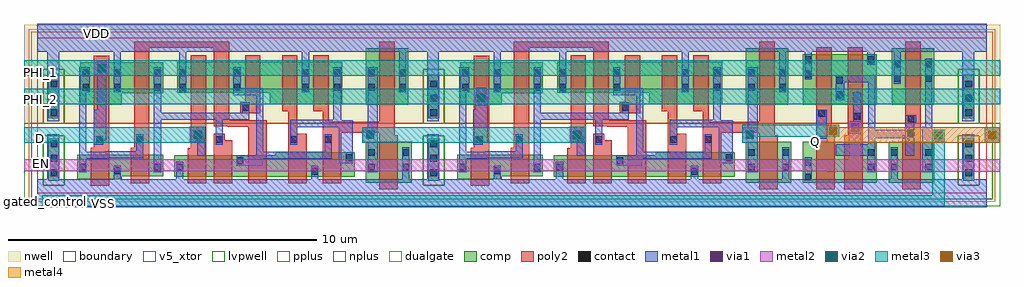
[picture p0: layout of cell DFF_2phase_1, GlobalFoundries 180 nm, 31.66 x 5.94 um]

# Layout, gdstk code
import gdstk
lib = gdstk.Library(unit=1e-6, precision=1e-09)
def R(c, l, rs):  # rectangles x0, y0, x1, y1
    for r in rs: c.add(gdstk.rectangle(r[:2], r[2:], *l))
def A(c, l, x, y, w, h, nx, ny, dx, dy):  # array of equal rectangles
    R(c, l, [(x+i*dx, y+j*dy, x+i*dx+w, y+j*dy+h) for i in range(nx) for j in range(ny)])
def P(c, l, *ps):  # polygons
    for p in ps: c.add(gdstk.Polygon(p, *l))
boundary = (0, 0)
nwell = (21, 0)
comp = (22, 0)
poly2 = (30, 0)
pplus = (31, 0)
nplus = (32, 0)
contact = (33, 0)
metal1 = (34, 0)
via1 = (35, 0)
metal2 = (36, 0)
via2 = (38, 0)
via3 = (40, 0)
metal3 = (42, 0)
metal4 = (46, 0)
dualgate = (55, 0)
v5_xtor = (112, 1)
lvpwell = (204, 0)

gf180mcu_fd_sc_mcu9t5v0_ = lib.new_cell('gf180mcu_fd_sc_mcu9t5v0__filltie')
R(gf180mcu_fd_sc_mcu9t5v0_, boundary, [(0,0,1.12,5.04)])
R(gf180mcu_fd_sc_mcu9t5v0_, nwell, [(-0.43,2.265,1.55,5.47)])
R(gf180mcu_fd_sc_mcu9t5v0_, comp, [(0.36,0.41,0.72,1.785), (0.36,2.425,0.72,3.855)])
R(gf180mcu_fd_sc_mcu9t5v0_, pplus, [(0.2,0.25,0.88,1.865)])
P(gf180mcu_fd_sc_mcu9t5v0_, pplus, [(-0.2,2.265),(-0.2,5.24),(1.32,5.24),(1.32,2.265),(0.88,2.265),(0.88,4.015),(0.2,4.015),(0.2,2.265)])
P(gf180mcu_fd_sc_mcu9t5v0_, nplus, [(-0.2,-0.2),(-0.2,2.265),(0.2,2.265),(0.2,4.015),(0.88,4.015),(0.88,1.865),(0.2,1.865),(0.2,0.25),(0.88,0.25),(0.88,4.015),(0.88,2.265),(1.32,2.265),(1.32,-0.2)])
A(gf180mcu_fd_sc_mcu9t5v0_, contact, 0.43, 0.555, 0.22, 0.22, 1, 3, 0, 0.47)
A(gf180mcu_fd_sc_mcu9t5v0_, contact, 0.43, 2.495, 0.22, 0.22, 1, 3, 0, 0.47)
P(gf180mcu_fd_sc_mcu9t5v0_, metal1, [(0,-0.45),(0,0.45),(0.33,0.45),(0.33,1.91),(0.71,1.91),(0.71,0.45),(1.12,0.45),(1.12,-0.45)],
  [(0.33,2.34),(0.33,4.59),(0,4.59),(0,5.49),(1.12,5.49),(1.12,4.59),(0.71,4.59),(0.71,2.34)])
R(gf180mcu_fd_sc_mcu9t5v0_, dualgate, [(-0.28,-0.28,1.4,5.32)])
R(gf180mcu_fd_sc_mcu9t5v0_, v5_xtor, [(0,0,1.12,5.04)])
R(gf180mcu_fd_sc_mcu9t5v0_, lvpwell, [(-0.43,-0.43,1.55,2.265)])
gf180mcu_fd_sc_mcu9t5v0_.add(gdstk.Label('VSS', (0.56,-0.45), layer=34, texttype=10))
gf180mcu_fd_sc_mcu9t5v0_.add(gdstk.Label('VDD', (0.56,5.49), layer=34, texttype=10))
gf180mcu_fd_sc_mcu9t5v0_.add(gdstk.Label('& Vendor GLOBALFOUNDRIES', (0,2), layer=63, texttype=63))
gf180mcu_fd_sc_mcu9t5v0_.add(gdstk.Label('& Product GF018hv5v_green_sc9', (0,1.5), layer=63, texttype=63))
gf180mcu_fd_sc_mcu9t5v0_.add(gdstk.Label('& Version 2015q2v2', (0,1), layer=63, texttype=63))
gf180mcu_fd_sc_mcu9t5v0_.add(gdstk.Label('& Metric 1.00', (0,0.5), layer=63, texttype=63))

c_gf180mcu_fd_sc_mcu9t5v0_ = lib.new_cell('gf180mcu_fd_sc_mcu9t5v0__latq_1')
R(c_gf180mcu_fd_sc_mcu9t5v0_, boundary, [(0,0,11.2,5.04)])
R(c_gf180mcu_fd_sc_mcu9t5v0_, nwell, [(-0.43,2.265,11.63,5.47)])
R(c_gf180mcu_fd_sc_mcu9t5v0_, comp, [(9.54,0.345,11.02,1.665), (9.54,2.865,10.92,4.695)])
P(c_gf180mcu_fd_sc_mcu9t5v0_, comp, [(0.18,0.46),(0.18,1.25),(2.96,1.25),(2.96,0.55),(1.62,0.55),(1.62,0.46)],
  [(0.28,2.865),(0.28,4.245),(2.96,4.245),(2.96,3.245),(1.62,3.245),(1.62,2.865)],
  [(6.42,2.88),(6.42,3.26),(3.42,3.26),(3.42,4.26),(8.78,4.26),(8.78,2.88)],
  [(3.32,0.535),(3.32,1.235),(6.62,1.235),(6.62,1.325),(9.18,1.325),(9.18,0.535)])
P(c_gf180mcu_fd_sc_mcu9t5v0_, poly2, [(0.62,0.24),(0.62,1.47),(0.72,1.47),(0.72,4.465),(1.22,4.465),(1.22,0.24)],
  [(3.76,0.315),(3.76,1.455),(3.86,1.455),(3.86,4.48),(4.36,4.48),(4.36,0.315)],
  [(4.6,0.315),(4.6,1.925),(4.96,1.925),(4.96,1.715),(5.2,1.715),(5.2,0.315)],
  [(5.46,2.6),(5.46,2.96),(5.62,2.96),(5.62,4.48),(6.12,4.48),(6.12,3.04),(6.115,3.04),(6.115,2.6)],
  [(5.72,0.315),(5.72,2.16),(5.055,2.16),(5.055,2.165),(4.6,2.165),(4.6,4.72),(2.52,4.72),(2.52,0.33),(1.92,0.33),(1.92,1.47),(2.02,1.47),(2.02,4.92),(5.1,4.92),(5.1,2.36),(6.32,2.36),(6.32,0.315)],
  [(7.02,0.315),(7.02,2.66),(6.82,2.66),(6.82,4.48),(7.32,4.48),(7.32,1.925),(7.62,1.925),(7.62,0.315)],
  [(9.98,0.125),(9.98,1.965),(8.74,1.965),(8.74,0.315),(8.14,0.315),(8.14,2.66),(7.84,2.66),(7.84,4.48),(8.34,4.48),(8.34,2.325),(9.98,2.325),(9.98,4.915),(10.48,4.915),(10.48,1.885),(10.58,1.885),(10.58,0.125)])
R(c_gf180mcu_fd_sc_mcu9t5v0_, pplus, [(-0.2,2.265,11.4,5.24)])
R(c_gf180mcu_fd_sc_mcu9t5v0_, nplus, [(-0.2,-0.2,11.4,2.265)])
R(c_gf180mcu_fd_sc_mcu9t5v0_, contact, [(7.77,0.605,7.99,0.825), (1.37,0.615,1.59,0.835), (0.25,0.74,0.47,0.96), (2.67,0.74,2.89,0.96), (3.39,0.74,3.61,0.96), (9.61,0.74,9.83,0.96), (10.73,0.74,10.95,0.96), (5.35,0.945,5.57,1.165), (8.89,1.035,9.11,1.255), (9.61,1.21,9.83,1.43), (10.73,1.21,10.95,1.43), (0.79,1.635,1.01,1.855), (2.09,1.635,2.31,1.855), (4.07,1.635,4.29,1.855), (4.67,1.635,4.89,1.855), (7.09,1.635,7.31,1.855), (8.21,1.635,8.43,1.855), (5.53,2.67,5.75,2.89), (0.35,3.33,0.57,3.55), (1.37,3.33,1.59,3.55), (2.67,3.33,2.89,3.55), (3.49,3.33,3.71,3.55), (5.25,3.33,5.47,3.55), (7.47,3.33,7.69,3.55), (8.49,3.33,8.71,3.55), (9.61,3.33,9.83,3.55), (10.63,3.33,10.85,3.55), (0.35,3.8,0.57,4.02), (1.37,3.8,1.59,4.02), (2.67,3.8,2.89,4.02), (3.49,3.8,3.71,4.02), (5.25,3.8,5.47,4.02), (7.47,3.8,7.69,4.02), (8.49,3.8,8.71,4.02), (9.61,3.8,9.83,4.02), (10.63,3.8,10.85,4.02)])
R(c_gf180mcu_fd_sc_mcu9t5v0_, metal1, [(9.605,0.68,9.93,4.08), (4.065,1.21,4.33,2.15), (0.71,1.575,1.015,2.71)])
P(c_gf180mcu_fd_sc_mcu9t5v0_, metal1, [(0.245,0.68),(0.245,4.08),(0.575,4.08),(0.575,3.27),(0.475,3.27),(0.475,1.345),(1.085,1.345),(1.085,1.355),(2.085,1.355),(2.085,1.915),(2.315,1.915),(2.315,1.125),(1.155,1.125),(1.155,1.115),(0.475,1.115),(0.475,0.68)],
  [(2.665,0.68),(2.665,4.08),(2.895,4.08),(2.895,2.61),(5.525,2.61),(5.525,2.95),(5.755,2.95),(5.755,2.38),(4.895,2.38),(4.895,1.575),(4.665,1.575),(4.665,2.38),(2.895,2.38),(2.895,0.68)],
  [(5.345,0.885),(5.345,1.225),(5.985,1.225),(5.985,3.18),(5.245,3.18),(5.245,4.08),(5.475,4.08),(5.475,3.41),(6.215,3.41),(6.215,1.345),(8.205,1.345),(8.205,1.915),(8.435,1.915),(8.435,1.115),(6.19,1.115),(6.19,0.885)],
  [(8.665,0.975),(8.665,2.145),(7.315,2.145),(7.315,1.575),(7.085,1.575),(7.085,2.375),(8.485,2.375),(8.485,4.08),(8.735,4.08),(8.735,2.365),(9.115,2.365),(9.115,0.975)],
  [(0,-0.45),(0,0.45),(1.365,0.45),(1.365,0.895),(1.595,0.895),(1.595,0.45),(3.385,0.45),(3.385,1.02),(3.615,1.02),(3.615,0.45),(7.765,0.45),(7.765,0.885),(7.995,0.885),(7.995,0.45),(10.725,0.45),(10.725,1.49),(10.955,1.49),(10.955,0.45),(11.2,0.45),(11.2,-0.45)],
  [(1.365,3.27),(1.365,4.59),(0,4.59),(0,5.49),(11.2,5.49),(11.2,4.59),(10.855,4.59),(10.855,3.27),(10.625,3.27),(10.625,4.59),(7.695,4.59),(7.695,3.27),(7.465,3.27),(7.465,4.59),(3.715,4.59),(3.715,3.27),(3.485,3.27),(3.485,4.59),(1.595,4.59),(1.595,3.27)])
R(c_gf180mcu_fd_sc_mcu9t5v0_, dualgate, [(-0.28,-0.28,11.48,5.32)])
R(c_gf180mcu_fd_sc_mcu9t5v0_, v5_xtor, [(0,0,11.2,5.04)])
R(c_gf180mcu_fd_sc_mcu9t5v0_, lvpwell, [(-0.43,-0.43,11.63,2.265)])
c_gf180mcu_fd_sc_mcu9t5v0_.add(gdstk.Label('D', (4.2,1.4), layer=34, texttype=10))
c_gf180mcu_fd_sc_mcu9t5v0_.add(gdstk.Label('E', (0.84,1.96), layer=34, texttype=10))
c_gf180mcu_fd_sc_mcu9t5v0_.add(gdstk.Label('Q', (9.8,2.52), layer=34, texttype=10))
c_gf180mcu_fd_sc_mcu9t5v0_.add(gdstk.Label('VDD', (5.6,5.49), layer=34, texttype=10))
c_gf180mcu_fd_sc_mcu9t5v0_.add(gdstk.Label('VSS', (5.6,-0.45), layer=34, texttype=10))
c_gf180mcu_fd_sc_mcu9t5v0_.add(gdstk.Label('& Vendor GLOBALFOUNDRIES', (0,2), layer=63, texttype=63))
c_gf180mcu_fd_sc_mcu9t5v0_.add(gdstk.Label('& Product GF018hv5v_green_sc9', (0,1.5), layer=63, texttype=63))
c_gf180mcu_fd_sc_mcu9t5v0_.add(gdstk.Label('& Version 2015q2v2', (0,1), layer=63, texttype=63))
c_gf180mcu_fd_sc_mcu9t5v0_.add(gdstk.Label('& Metric 1.00', (0,0.5), layer=63, texttype=63))
c_gf180mcu_fd_sc_mcu9t5v0_.add(gdstk.Label('VNW', (0.345,3.92), layer=21, texttype=10))
c_gf180mcu_fd_sc_mcu9t5v0_.add(gdstk.Label('VPW', (0.34,-0.085), layer=204, texttype=10))

via_dev_6 = lib.new_cell('via_dev$6')
R(via_dev_6, metal1, [(0,0,0.5,0.5)])
R(via_dev_6, via1, [(0.12,0.12,0.38,0.38)])
R(via_dev_6, metal2, [(0,0,0.5,0.5)])

via_dev_7 = lib.new_cell('via_dev$7')
R(via_dev_7, metal2, [(0,0,0.5,0.5)])
R(via_dev_7, via2, [(0.12,0.12,0.38,0.38)])
R(via_dev_7, metal3, [(0,0,0.5,0.5)])

c_gf180mcu_fd_sc_mcu9t5v0__ = lib.new_cell('gf180mcu_fd_sc_mcu9t5v0__nand2_1')
R(c_gf180mcu_fd_sc_mcu9t5v0__, boundary, [(0,0,2.8,5.04)])
R(c_gf180mcu_fd_sc_mcu9t5v0__, nwell, [(-0.43,2.265,3.23,5.47)])
R(c_gf180mcu_fd_sc_mcu9t5v0__, comp, [(0.185,0.345,2.585,1.665), (0.185,2.865,2.585,4.51)])
P(c_gf180mcu_fd_sc_mcu9t5v0__, poly2, [(0.625,0.125),(0.625,4.73),(1.125,4.73),(1.125,1.885),(1.225,1.885),(1.225,0.125)],
  [(1.545,0.125),(1.545,1.885),(1.645,1.885),(1.645,4.73),(2.145,4.73),(2.145,0.125)])
R(c_gf180mcu_fd_sc_mcu9t5v0__, pplus, [(-0.2,2.265,3,5.24)])
R(c_gf180mcu_fd_sc_mcu9t5v0__, nplus, [(-0.2,-0.2,3,2.265)])
R(c_gf180mcu_fd_sc_mcu9t5v0__, contact, [(0.255,0.415,0.475,0.635), (2.295,0.74,2.515,0.96), (0.255,0.885,0.475,1.105), (2.295,1.21,2.515,1.43), (1.835,2.39,2.055,2.61), (0.695,2.475,0.915,2.695), (1.275,3.08,1.495,3.3), (1.275,3.55,1.495,3.77), (0.255,3.75,0.475,3.97), (0.255,4.22,0.475,4.44), (2.295,4.22,2.515,4.44)])
R(c_gf180mcu_fd_sc_mcu9t5v0__, metal1, [(0.635,1.77,0.975,2.71), (1.83,2.33,2.09,3.27)])
P(c_gf180mcu_fd_sc_mcu9t5v0__, metal1, [(2.29,0.68),(2.29,1.21),(1.27,1.21),(1.27,1.59),(2.32,1.59),(2.32,3.6),(1.53,3.6),(1.53,3.02),(1.27,3.02),(1.27,3.83),(2.55,3.83),(2.55,0.68)],
  [(0,-0.45),(0,0.45),(0.25,0.45),(0.25,1.165),(0.48,1.165),(0.48,0.45),(2.8,0.45),(2.8,-0.45)],
  [(0.25,3.69),(0.25,4.59),(0,4.59),(0,5.49),(2.8,5.49),(2.8,4.59),(2.52,4.59),(2.52,4.16),(2.29,4.16),(2.29,4.59),(0.48,4.59),(0.48,3.69)])
R(c_gf180mcu_fd_sc_mcu9t5v0__, dualgate, [(-0.28,-0.28,3.08,5.32)])
R(c_gf180mcu_fd_sc_mcu9t5v0__, v5_xtor, [(0,0,2.8,5.04)])
R(c_gf180mcu_fd_sc_mcu9t5v0__, lvpwell, [(-0.43,-0.43,3.23,2.265)])
c_gf180mcu_fd_sc_mcu9t5v0__.add(gdstk.Label('A1', (1.96,2.52), layer=34, texttype=10))
c_gf180mcu_fd_sc_mcu9t5v0__.add(gdstk.Label('A2', (0.84,1.96), layer=34, texttype=10))
c_gf180mcu_fd_sc_mcu9t5v0__.add(gdstk.Label('VDD', (1.4,5.49), layer=34, texttype=10))
c_gf180mcu_fd_sc_mcu9t5v0__.add(gdstk.Label('VSS', (1.4,-0.45), layer=34, texttype=10))
c_gf180mcu_fd_sc_mcu9t5v0__.add(gdstk.Label('ZN', (1.96,1.4), layer=34, texttype=10))
c_gf180mcu_fd_sc_mcu9t5v0__.add(gdstk.Label('& Vendor GLOBALFOUNDRIES', (0,2), layer=63, texttype=63))
c_gf180mcu_fd_sc_mcu9t5v0__.add(gdstk.Label('& Product GF018hv5v_green_sc9', (0,1.5), layer=63, texttype=63))
c_gf180mcu_fd_sc_mcu9t5v0__.add(gdstk.Label('& Version 2015q2v2', (0,1), layer=63, texttype=63))
c_gf180mcu_fd_sc_mcu9t5v0__.add(gdstk.Label('& Metric 1.00', (0,0.5), layer=63, texttype=63))
c_gf180mcu_fd_sc_mcu9t5v0__.add(gdstk.Label('VNW', (0.345,3.92), layer=21, texttype=10))
c_gf180mcu_fd_sc_mcu9t5v0__.add(gdstk.Label('VPW', (0.34,-0.085), layer=204, texttype=10))

c_gf180mcu_fd_sc_mcu9t5v0___ = lib.new_cell('gf180mcu_fd_sc_mcu9t5v0__inv_1')
R(c_gf180mcu_fd_sc_mcu9t5v0___, boundary, [(0,0,2.24,5.04)])
R(c_gf180mcu_fd_sc_mcu9t5v0___, nwell, [(-0.43,2.265,2.67,5.47)])
R(c_gf180mcu_fd_sc_mcu9t5v0___, comp, [(0.18,0.345,1.66,1.665), (0.28,2.865,1.66,4.695)])
P(c_gf180mcu_fd_sc_mcu9t5v0___, poly2, [(0.62,0.125),(0.62,1.885),(0.72,1.885),(0.72,4.915),(1.22,4.915),(1.22,0.125)])
R(c_gf180mcu_fd_sc_mcu9t5v0___, pplus, [(-0.2,2.265,2.44,5.24)])
R(c_gf180mcu_fd_sc_mcu9t5v0___, nplus, [(-0.2,-0.2,2.44,2.265)])
R(c_gf180mcu_fd_sc_mcu9t5v0___, contact, [(0.25,0.74,0.47,0.96), (1.37,0.74,1.59,0.96), (0.25,1.21,0.47,1.43), (1.37,1.21,1.59,1.43), (0.79,1.835,1.01,2.055), (0.79,2.305,1.01,2.525), (0.35,3.61,0.57,3.83), (1.37,3.61,1.59,3.83), (0.35,4.08,0.57,4.3), (1.37,4.08,1.59,4.3)])
P(c_gf180mcu_fd_sc_mcu9t5v0___, metal1, [(0.71,1.21),(0.71,2.53),(1.07,2.53),(1.07,2.3),(1.015,2.3),(1.015,1.21)],
  [(1.27,0.68),(1.27,2.15),(1.365,2.15),(1.365,4.36),(1.595,4.36),(1.595,0.68)],
  [(0,-0.45),(0,0.45),(0.245,0.45),(0.245,1.49),(0.475,1.49),(0.475,0.45),(2.24,0.45),(2.24,-0.45)],
  [(0.345,3.55),(0.345,4.59),(0,4.59),(0,5.49),(2.24,5.49),(2.24,4.59),(0.575,4.59),(0.575,3.55)])
R(c_gf180mcu_fd_sc_mcu9t5v0___, dualgate, [(-0.28,-0.28,2.52,5.32)])
R(c_gf180mcu_fd_sc_mcu9t5v0___, v5_xtor, [(0,0,2.24,5.04)])
R(c_gf180mcu_fd_sc_mcu9t5v0___, lvpwell, [(-0.43,-0.43,2.67,2.265)])
c_gf180mcu_fd_sc_mcu9t5v0___.add(gdstk.Label('I', (0.84,1.96), layer=34, texttype=10))
c_gf180mcu_fd_sc_mcu9t5v0___.add(gdstk.Label('VDD', (1.12,5.49), layer=34, texttype=10))
c_gf180mcu_fd_sc_mcu9t5v0___.add(gdstk.Label('VSS', (1.12,-0.45), layer=34, texttype=10))
c_gf180mcu_fd_sc_mcu9t5v0___.add(gdstk.Label('ZN', (1.4,1.96), layer=34, texttype=10))
c_gf180mcu_fd_sc_mcu9t5v0___.add(gdstk.Label('& Vendor GLOBALFOUNDRIES', (0,2), layer=63, texttype=63))
c_gf180mcu_fd_sc_mcu9t5v0___.add(gdstk.Label('& Product GF018hv5v_green_sc9', (0,1.5), layer=63, texttype=63))
c_gf180mcu_fd_sc_mcu9t5v0___.add(gdstk.Label('& Version 2015q2v2', (0,1), layer=63, texttype=63))
c_gf180mcu_fd_sc_mcu9t5v0___.add(gdstk.Label('& Metric 1.00', (0,0.5), layer=63, texttype=63))
c_gf180mcu_fd_sc_mcu9t5v0___.add(gdstk.Label('VNW', (0.345,3.92), layer=21, texttype=10))
c_gf180mcu_fd_sc_mcu9t5v0___.add(gdstk.Label('VPW', (0.34,-0.085), layer=204, texttype=10))

via_dev_8 = lib.new_cell('via_dev$8')
R(via_dev_8, metal1, [(0,0,0.4,0.4)])
R(via_dev_8, via1, [(0.07,0.07,0.33,0.33)])
R(via_dev_8, metal2, [(0,0,0.4,0.4)])

via_dev_9 = lib.new_cell('via_dev$9')
R(via_dev_9, metal1, [(0,0,0.4,0.4)])
R(via_dev_9, via1, [(0.07,0.07,0.33,0.33)])
R(via_dev_9, metal2, [(0,0,0.4,0.4)])
R(via_dev_9, via2, [(0.07,0.07,0.33,0.33)])
R(via_dev_9, metal3, [(0,0,0.4,0.4)])

via_dev_10 = lib.new_cell('via_dev$10')
R(via_dev_10, metal1, [(0,0,0.4,0.4)])
R(via_dev_10, via1, [(0.07,0.07,0.33,0.33)])
R(via_dev_10, metal2, [(0,0,0.4,0.4)])
R(via_dev_10, via2, [(0.07,0.07,0.33,0.33)])
R(via_dev_10, via3, [(0.07,0.07,0.33,0.33)])
R(via_dev_10, metal3, [(0,0,0.4,0.4)])
R(via_dev_10, metal4, [(0,0,0.4,0.4)])

via_dev_11 = lib.new_cell('via_dev$11')
R(via_dev_11, metal1, [(0,0,0.5,0.5)])
R(via_dev_11, via1, [(0.12,0.12,0.38,0.38)])
R(via_dev_11, metal2, [(0,0,0.5,0.5)])
R(via_dev_11, via2, [(0.12,0.12,0.38,0.38)])
R(via_dev_11, via3, [(0.12,0.12,0.38,0.38)])
R(via_dev_11, metal3, [(0,0,0.5,0.5)])
R(via_dev_11, metal4, [(0,0,0.5,0.5)])

dff_2phase_1 = lib.new_cell('DFF_2phase_1')
R(dff_2phase_1, metal1, [(0.22,1.5,0.525,4.11), (25.47,1.59,26.43,1.855), (0.22,3.61,0.52,4.11)])
P(dff_2phase_1, metal1, [(12.51,1.435),(12.51,2.32),(12.49,2.32),(12.49,2.935),(12.525,2.935),(12.525,3.22),(12.84,3.22),(12.84,2.935),(12.89,2.935),(12.89,1.435)])
R(dff_2phase_1, via1, [(12.56,2.77,12.82,3.03), (0.24,3.73,0.5,3.99)])
R(dff_2phase_1, metal2, [(12.44,2.69,12.84,3.19), (0.17,3.61,0.57,4.11)])
P(dff_2phase_1, metal2, [(23.89,0.5),(23.89,0.505),(-2.15,0.505),(-2.15,0.9),(24.61,0.9),(24.61,1.73),(25.01,1.73),(25.01,0.9),(29.51,0.9),(29.51,0.5)])
R(dff_2phase_1, metal3, [(-2.15,1.44,3.73,1.94), (8.83,1.44,16.05,1.94), (21.15,1.625,24.295,2.025), (-2.15,2.69,29.51,3.19), (-2.15,3.61,29.51,4.11)])
P(dff_2phase_1, metal3, [(-1.56,-0.63),(-1.56,-0.27),(27.315,-0.27),(27.315,1.465),(27.715,1.465),(27.715,-0.63)])
P(dff_2phase_1, metal4, [(23.895,1.435),(23.895,1.935),(29.51,1.935),(29.51,1.44),(24.905,1.44),(24.905,1.435)])
dff_2phase_1.add(gdstk.Reference(gf180mcu_fd_sc_mcu9t5v0_, (-1.72,-0.2)))
dff_2phase_1.add(gdstk.Reference(gf180mcu_fd_sc_mcu9t5v0_, (10.6,-0.2)))
dff_2phase_1.add(gdstk.Reference(c_gf180mcu_fd_sc_mcu9t5v0_, (-0.6,-0.2)))
dff_2phase_1.add(gdstk.Reference(gf180mcu_fd_sc_mcu9t5v0_, (27.96,-0.2)))
dff_2phase_1.add(gdstk.Reference(via_dev_6, (8.83,1.44)))
dff_2phase_1.add(gdstk.Reference(via_dev_7, (8.83,1.44)))
dff_2phase_1.add(gdstk.Reference(via_dev_6, (15.55,1.45)))
dff_2phase_1.add(gdstk.Reference(via_dev_7, (15.55,1.45)))
dff_2phase_1.add(gdstk.Reference(via_dev_6, (3.23,1.45)))
dff_2phase_1.add(gdstk.Reference(via_dev_7, (3.23,1.45)))
dff_2phase_1.add(gdstk.Reference(via_dev_6, (21.15,1.44)))
dff_2phase_1.add(gdstk.Reference(via_dev_7, (21.15,1.44)))
dff_2phase_1.add(gdstk.Reference(via_dev_7, (12.44,2.65)))
dff_2phase_1.add(gdstk.Reference(via_dev_7, (0.12,3.61)))
dff_2phase_1.add(gdstk.Reference(c_gf180mcu_fd_sc_mcu9t5v0__, (22.92,-0.2)))
dff_2phase_1.add(gdstk.Reference(c_gf180mcu_fd_sc_mcu9t5v0___, (25.72,-0.2)))
dff_2phase_1.add(gdstk.Reference(via_dev_8, (24.61,1.73)))
dff_2phase_1.add(gdstk.Reference(c_gf180mcu_fd_sc_mcu9t5v0_, (11.72,-0.2)))
dff_2phase_1.add(gdstk.Reference(via_dev_9, (27.315,1.465)))
dff_2phase_1.add(gdstk.Reference(via_dev_10, (23.895,1.625)))
dff_2phase_1.add(gdstk.Reference(via_dev_11, (29.01,1.435)))
dff_2phase_1.add(gdstk.Label('VDD', (0.21,4.97), layer=34, texttype=10))
dff_2phase_1.add(gdstk.Label('VSS', (0.44,-0.53), layer=34, texttype=10))
dff_2phase_1.add(gdstk.Label('gated_control', (-1.44,-0.46), layer=42, texttype=10))
dff_2phase_1.add(gdstk.Label('PHI_1', (-1.62,3.71), layer=42, texttype=10))
dff_2phase_1.add(gdstk.Label('PHI_2', (-1.62,2.84), layer=42, texttype=10))
dff_2phase_1.add(gdstk.Label('D', (-1.63,1.56), layer=42, texttype=10))
dff_2phase_1.add(gdstk.Label('D', (-1.64,1.55), layer=42, texttype=10))
dff_2phase_1.add(gdstk.Label('Q', (23.53,1.48), layer=42, texttype=10))
dff_2phase_1.add(gdstk.Label('EN', (-1.595,0.76), layer=36, texttype=10))

lib.write_gds('DFF_2phase_1.gds')
